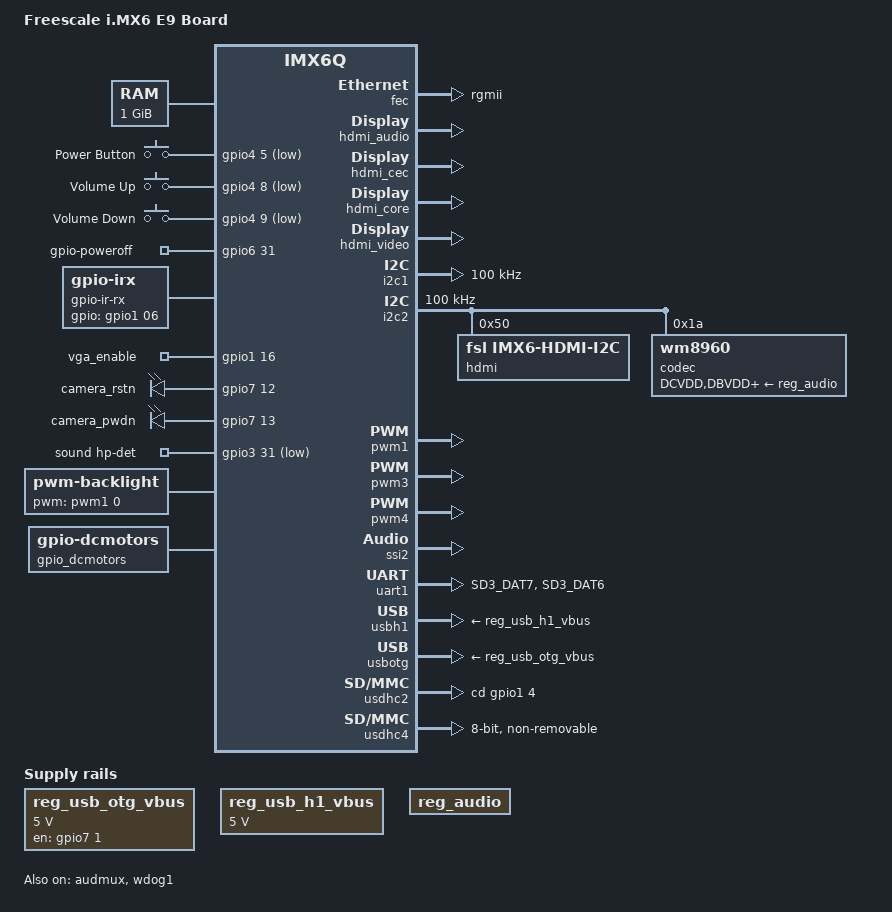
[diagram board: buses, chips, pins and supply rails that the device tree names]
/*
 * Copyright 2012 Freescale Semiconductor, Inc.
 * Copyright 2011 Linaro Ltd.
 *
 * The code contained herein is licensed under the GNU General Public
 * License. You may obtain a copy of the GNU General Public License
 * Version 2 or later at the following locations:
 *
 * http://www.opensource.org/licenses/gpl-license.html
 * http://www.gnu.org/copyleft/gpl.html
 */

/dts-v1/;

#include "imx6q.dtsi"

/ {
/*	model = "i.MX6 Quad E9 Board";*/
	model = "Freescale i.MX6 E9 Board";
	compatible = "fsl,imx6q-e9","imx6q-sabresd", "fsl,imx6q";

	aliases {
		mxcfb0 = &mxcfb3;
		mxcfb1 = &mxcfb2;
		mxcfb2 = &mxcfb1;
		mxcfb3 = &mxcfb4;
	};

	memory {
		reg = <0x10000000 0x40000000>;
	};

	regulators {
		compatible = "simple-bus";

		reg_usb_otg_vbus: usb_otg_vbus {
			compatible = "regulator-fixed";
			regulator-name = "usb_otg_vbus";
			regulator-min-microvolt = <5000000>;
			regulator-max-microvolt = <5000000>;
			gpio = <&gpio7 1 0>;
			enable-active-high;
		};

		reg_usb_h1_vbus: usb_h1_vbus {
			compatible = "regulator-fixed";
			regulator-name = "usb_h1_vbus";
			regulator-min-microvolt = <5000000>;
			regulator-max-microvolt = <5000000>;
			/*gpio = <&gpio1 29 0>;*/
			enable-active-high;
		};

		reg_audio: wm8960_supply {
			compatible = "regulator-fixed";
			regulator-name = "wm8960-supply";
			/*gpio = <&gpio4 10 0>;*/
			enable-active-high;
		};
		
		sw1a_reg: sw1ab {
			regulator-min-microvolt = <300000>;
			regulator-max-microvolt = <1875000>;
			regulator-boot-on;
			regulator-always-on;
			regulator-ramp-delay = <6250>;
		};

		sw1c_reg: sw1c {
			regulator-min-microvolt = <300000>;
			regulator-max-microvolt = <1875000>;
			regulator-boot-on;
			regulator-always-on;
			regulator-ramp-delay = <6250>;
		};	

		sw2_reg: sw2 {
			regulator-min-microvolt = <800000>;
			regulator-max-microvolt = <3300000>;
			regulator-boot-on;
			regulator-always-on;
		};

		sw3a_reg: sw3a {
			regulator-min-microvolt = <400000>;
			regulator-max-microvolt = <1975000>;
			regulator-boot-on;
			regulator-always-on;
		};

		sw3b_reg: sw3b {
			regulator-min-microvolt = <400000>;
			regulator-max-microvolt = <1975000>;
			regulator-boot-on;
			regulator-always-on;
		};

		sw4_reg: sw4 {
			regulator-min-microvolt = <800000>;
			regulator-max-microvolt = <3300000>;
		};

		swbst_reg: swbst {
			regulator-min-microvolt = <5000000>;
			regulator-max-microvolt = <5150000>;
		};

		snvs_reg: vsnvs {
			regulator-min-microvolt = <1000000>;
			regulator-max-microvolt = <3000000>;
			regulator-boot-on;
			regulator-always-on;
		};

		vref_reg: vrefddr {
			regulator-boot-on;
			regulator-always-on;
		};

		vgen1_reg: vgen1 {
			regulator-min-microvolt = <800000>;
			regulator-max-microvolt = <1550000>;
		};

		vgen2_reg: vgen2 {
			regulator-min-microvolt = <800000>;
			regulator-max-microvolt = <1550000>;
		};

		vgen3_reg: vgen3 {
			regulator-min-microvolt = <1800000>;
			regulator-max-microvolt = <3300000>;
		};

		vgen4_reg: vgen4 {
			regulator-min-microvolt = <1800000>;
			regulator-max-microvolt = <3300000>;
			regulator-always-on;
		};

		vgen5_reg: vgen5 {
			regulator-min-microvolt = <1800000>;
			regulator-max-microvolt = <3300000>;
			regulator-always-on;
		};

		vgen6_reg: vgen6 {
			regulator-min-microvolt = <1800000>;
			regulator-max-microvolt = <3300000>;
			regulator-always-on;
		};
		

	};

	gpio_keys {
		compatible = "gpio-keys";
		pinctrl-names = "default";
		pinctrl-0 = <&pinctrl_gpio_keys>;
		#address-cells = <1>;
		#size-cells = <0>;
		autorepeat;
		power {
			label = "Power Button";
			gpios = <&gpio4 5 1>;
			debounce-interval= <50>;
			linux,input-type = <0>;
			linux,code = <116>; /* KEY_POWER */
			gpio-key,wakeup;
		};

		volume-up {
			label = "Volume Up";
			gpios = <&gpio4 8 1>;
			debounce-interval= <50>;
			linux,input-type = <0>;
			linux,code = <115>; /* KEY_VOLUMEUP K3 */
		};

		volume-down {
			label = "Volume Down";
			gpios = <&gpio4 9 1>;
			debounce-interval= <50>;
			linux,input-type = <0>;
			linux,code = <114>; /* KEY_VOLUMEDOWN K4*/
		};
	};

	gpio-poweroff {		
		compatible = "gpio-poweroff";
		pinctrl-names = "default";
        pinctrl-0 = <&pinctrl_gpio_powerhold>;
		gpios = <&gpio6 31  GPIO_ACTIVE_HIGH>;	
	};

	gpio-ir-rx {		
		compatible = "gpio-irx";
        pulse_width = <600>;
        linux,input-type = <0>;
		pinctrl-names = "default";
        pinctrl-0 = <&pinctrl_gpio_irx>;
		gpios = <&gpio1 06  GPIO_ACTIVE_HIGH>;	
	};
	
	
	run-control {
		compatible = "gpio-leds";
		pinctrl-names = "default";
		pinctrl-0 = <&runctrl_pins>;
		
		vga:pasave{
			label ="vga_enable";
			gpios = <&gpio1 16 GPIO_ACTIVE_HIGH>;
			default-state = "on";
		};
		
		camera_rstn{
			label ="camera_rstn";
			gpios =<&gpio7 12  GPIO_ACTIVE_HIGH>;
			default-state = "on";
		};
		
		camera_pwnd{
			label ="camera_pwdn";
			gpios =<&gpio7 13  GPIO_ACTIVE_HIGH>;
			default-state = "on";
		};
	};

	sound {
		compatible = "fsl,imx-audio-wm8960";
		model = "wm8960-audio";
		ssi-controller = <&ssi2>;
		audio-codec = <&codec>;
		audio-routing =
			"Headphone Jack", "HP_L",
			"Headphone Jack", "HP_R",
			"Ext Spk", "SPK_LP",
			"Ext Spk", "SPK_LN",
            "MICB", "LINPUT1",
            "AMIC", "MICB";
		mux-int-port = <2>;
		mux-ext-port = <3>;
		hp-det-gpios = <&gpio3 31 1>;
		/*mic-det-gpios = <&gpio1 9 1>;*/
	};

	sound-hdmi {
		compatible = "fsl,imx6q-audio-hdmi",
			     "fsl,imx-audio-hdmi";
		model = "imx-audio-hdmi";
		hdmi-controller = <&hdmi_audio>;
	};

	mxcfb1: fb@0 {
		compatible = "fsl,mxc_sdc_fb";
		disp_dev = "ldb";
		interface_pix_fmt = "RGB666";
		mode_str ="LDB-XGA";
		default_bpp = <16>;
		int_clk = <0>;
		late_init = <0>;
		status = "disabled";
	};

	mxcfb2: fb@1 {
		compatible = "fsl,mxc_sdc_fb";
		disp_dev = "hdmi";
		interface_pix_fmt = "RGB24";
		mode_str ="1920x1080M@60";
		default_bpp = <24>;
		int_clk = <0>;
		late_init = <0>;
		status = "okay";
	};

	mxcfb3: fb@2 {
		compatible = "fsl,mxc_sdc_fb";
		disp_dev = "lcd";
		interface_pix_fmt = "RGB565";
		mode_str ="SEIKO-WVGA";
		default_bpp = <16>;
		int_clk = <0>;
		late_init = <0>;
		status = "okay";
	};

	mxcfb4: fb@3 {
		compatible = "fsl,mxc_sdc_fb";
		disp_dev = "ldb";
		interface_pix_fmt = "RGB666";
		mode_str ="LDB-XGA";
		default_bpp = <16>;
		int_clk = <0>;
		late_init = <0>;
		status = "disable";
	};

	lcd@0 {
		compatible = "fsl,lcd";
		ipu_id = <0>;
		disp_id = <0>;
		default_ifmt = "RGB565";
		pinctrl-names = "default";
		pinctrl-0 = <&pinctrl_ipu1_1>;
		status = "okay";
	};

	backlight {
		compatible = "pwm-backlight";
		pwms = <&pwm1 0 5000000>;
		brightness-levels = <0 4 8 16 32 64 128 255>;
		default-brightness-level = <7>;
	};

	v4l2_cap_0 {
		compatible = "fsl,imx6q-v4l2-capture";
		ipu_id = <0>;
		csi_id = <0>;
		mclk_source = <0>;
		status = "okay";
	};

	v4l2_cap_1 {
		compatible = "fsl,imx6q-v4l2-capture";
		ipu_id = <0>;
		csi_id = <1>;
		mclk_source = <0>;
		status = "disabled";
	};

	v4l2_out {
		compatible = "fsl,mxc_v4l2_output";
		status = "okay";
	};

    gpio_dcmotors {
        compatible = "gpio-dcmotors";
        //pinctrl-names = "default";
        //pinctrl-0 = <&pinctrl_gpio_dcmotors>;
        #address-cells = <1>;
        #size-cells = <0>;
        autorepeat;

        motor1: motor@lb {
            label = "motorlb";
            pwms = <&pwm3 0 500000>;//10e9/5000000
            pwm-names = "motorlb-pwm";
            gpios = <&gpio7 4 GPIO_ACTIVE_LOW//motor dr default low                   
                    &gpio5 2 0//captrue A forward
                    &gpio7 7 0>;//capture B back
            pwm-duty= <90>;//%
            linux,input-type = <0>;
            linux,code = <117>; /* motorlb speed */         /*gpio-key,wakeup;*/        
        };
        motor2: motor@rb {
            label = "motorrb";
            pwms = <&pwm4 0 50000>;
            pwm-names = "motorrb-pwm";
            gpios = <&gpio7 5 GPIO_ACTIVE_LOW   //motor dr default low
                    &gpio7 3 0  //captrue A forward
                    &gpio7 2 0>;    //capture B back
            pwm-duty= <90>;//%
            linux,input-type = <0>;
            linux,code = <118>; /* motorrb speed */
        };  
    };

};

&audmux {
	pinctrl-names = "default";
	pinctrl-0 = <&pinctrl_audmux_2>;
	status = "okay";
};

&cpu0 {
	arm-supply = <&sw1a_reg>;
	soc-supply = <&sw1c_reg>;
	pu-supply = <&pu_dummy>; /* use pu_dummy if VDDSOC share with VDDPU */
};

&fec {
	pinctrl-names = "default";
	pinctrl-0 = <&pinctrl_enet_1>;
	phy-mode = "rgmii";
	status = "okay";
};

&gpc {
	fsl,cpu_pupscr_sw2iso = <0xf>;
	fsl,cpu_pupscr_sw = <0xf>;
	fsl,cpu_pdnscr_iso2sw = <0x1>;
	fsl,cpu_pdnscr_iso = <0x1>;
	fsl,ldo-bypass = <1>; /* use ldo-bypass, u-boot will check it and configure */
	fsl,wdog-reset = <1>; /* watchdog select of reset source */
	pu-supply = <&pu_dummy>; /* ldo-bypass:use pu_dummy if VDDSOC share with VDDPU */
};

&wdog1 {
    status = "okay";
};

&gpu {
	pu-supply = <&pu_dummy>; /* ldo-bypass:use pu_dummy if VDDSOC share with VDDPU */
};

&hdmi_audio {
	status = "okay";
};

&hdmi_cec {
	pinctrl-names = "default";
	pinctrl-0 = <&pinctrl_hdmi_cec_2>;
	status = "okay";
};

&hdmi_core {
	ipu_id = <0>;
	disp_id = <0>;
	status = "okay";
};

&hdmi_video {
	fsl,phy_reg_vlev = <0x0294>;
	fsl,phy_reg_cksymtx = <0x800d>;
	status = "okay";
};

&i2c1 {
	clock-frequency = <100000>;
	pinctrl-names = "default";
	pinctrl-0 = <&pinctrl_i2c1_2>;
	status = "okay";
/*
	tsc2007: tsc2007@48 {
		compatible = "ti,tsc2007";
		reg = <0x48>;
		interrupt-parent = <&gpio1>;
		interrupts = <0x0 0x4>;
		gpios = <&gpio1 29 0>;
		ti,x-plate-ohms = <180>;
		ti,poll-period = <10>;
		status = "disabled";
	};

*/	
};

&i2c2 {
	clock-frequency = <100000>;
	pinctrl-names = "default";
	pinctrl-0 = <&pinctrl_i2c2_2>;
	status = "okay";

	hdmi: edid@50 {
		compatible = "fsl,imx6-hdmi-i2c";
		reg = <0x50>;
	};
	
	codec: wm8960@1a {
		compatible = "wm8960","wlf,wm8960";
		reg = <0x1a>;
		clocks = <&clks 201>;
		DCVDD-supply = <&reg_audio>;
		DBVDD-supply = <&reg_audio>;
		AVDD-supply = <&reg_audio>;
		CPVDD-supply = <&reg_audio>;
		MICVDD-supply = <&reg_audio>;
		PLLVDD-supply = <&reg_audio>;
		SPKVDD1-supply = <&reg_audio>;
		SPKVDD2-supply = <&reg_audio>;
 /*       capless;*/
        shared_lrclk;
       };
/*    adxl345@53 {
        compatible = "adi,adxl34x","adxl34x";
        reg = <0x53>;
		gpios = <&gpio1 28 0>;
    };

    hmc5883l@1b {
        compatible = "hmc5883l";
        reg = <0x1b>;
//		gpios = <&gpio1 28 1>;
    };
    
    hmc5883l@1e {
        compatible = "hmc5883l";
        reg = <0x1e>;
    };
    
    L3G4200D@69 {
        compatible = "l3g4200d_gyr";
        reg = <0x69>;
    };
*/
};


&iomuxc {
	pinctrl-names = "default";
	pinctrl-0 = <&pinctrl_hog_1>;

	hog {
		pinctrl_hog_1: hoggrp-1 {
			fsl,pins = <
				MX6QDL_PAD_GPIO_0__CCM_CLKO1    	0x130b0 /*WM8960 MCLK*/
//				MX6QDL_PAD_GPIO_6__GPIO1_IO06		0x170b0	/*IR recieve*/
//				MX6QDL_PAD_ENET_TXD1__GPIO1_IO29	0x07048 /*pen IRQ*/
//				MX6QDL_PAD_ENET_TX_EN__GPIO1_IO28	0x00040 /*ext gpio IRQ*/
                MX6QDL_PAD_SD1_DAT1__PWM3_OUT 0x1b0b1 /*0x1b0b1 pwm for motorrl ctrl */         
                MX6QDL_PAD_SD1_CMD__PWM4_OUT 0x1b0b1 /*0x1b0b1 pwm for motorrr ctrl */
            /* motorrl ctrl pin */            
                MX6QDL_PAD_SD3_DAT0__GPIO7_IO04     0x130b0 /* Direction Out PD*/
                MX6QDL_PAD_EIM_A25__GPIO5_IO02      0x10048 /* Capture A */
                MX6QDL_PAD_SD3_DAT3__GPIO7_IO07     0x10048 /* Capture B */
             /* motorrb  */
                MX6QDL_PAD_SD3_DAT1__GPIO7_IO05     0x130b0 /* Direction Out PD*/
                MX6QDL_PAD_SD3_CLK__GPIO7_IO03      0x1b048 /* Capture A */
                MX6QDL_PAD_SD3_CMD__GPIO7_IO02      0x1b048 /* Capture B */         
			>;
		};
	
		pinctrl_gpio_keys: gpio-keysgrp{		
			fsl,pins = <							
				MX6QDL_PAD_GPIO_19__GPIO4_IO05		0x17048 /* Power Button */
				MX6QDL_PAD_KEY_COL1__GPIO4_IO08		0x17048 /* Volume Up */
				MX6QDL_PAD_KEY_ROW1__GPIO4_IO09		0x17048 /* Volume Down */
			>;	
		};

		pinctrl_gpio_powerhold: gpio-powerholdgrp{					
			fsl,pins = <
				MX6QDL_PAD_EIM_BCLK__GPIO6_IO31    	0x17048 /* Power Off:0*/
			>;
		};
		
        pinctrl_gpio_irx: gpio-irxgrp{					
			fsl,pins = <
				MX6QDL_PAD_GPIO_6__GPIO1_IO06		0x170b0	/*IR recieve*/
			>;
		};

		runctrl_pins: runctrlgrp{					
			fsl,pins = <
				MX6QDL_PAD_SD1_DAT0__GPIO1_IO16		0x1b0b1 /*VGA PASAVE OD, PULL  disabled,slow*/
				MX6QDL_PAD_GPIO_17__GPIO7_IO12		0x1b0b1 /*CAMERA RST */
				MX6QDL_PAD_GPIO_18__GPIO7_IO13		0x1b0b1 /*CAMERA PWDN */
			>;
        };

        pinctrl_pwm3_2: pwm3grp-2 {         
            fsl,pins = <                
                MX6QDL_PAD_SD1_DAT1__PWM3_OUT 0x120b1 /*0x1b0b1*/           
            >;      
        };      
        
        pinctrl_pwm4_1: pwm4grp-1 {            
            fsl,pins = <                
                MX6QDL_PAD_SD1_CMD__PWM4_OUT 0x120b1 /*0x1b0b1*/            
            >;      
        };

        pinctrl_gpio_dcmotors:dcmotorsgrp-1{
            fsl,pins = </* motorlb  */
                MX6QDL_PAD_SD3_DAT0__GPIO7_IO04     0x120b1 /* Direction Out*/
                MX6QDL_PAD_EIM_A25__GPIO5_IO02      0x17048 /* Capture A */
                MX6QDL_PAD_SD3_DAT3__GPIO7_IO07     0x17048 /* Capture B */
             /* motorrb  */
                MX6QDL_PAD_SD3_DAT1__GPIO7_IO05     0x120b1 /* Direction Out*/
                MX6QDL_PAD_SD3_CLK__GPIO7_IO03      0x17048 /* Capture A */
                MX6QDL_PAD_SD3_CMD__GPIO7_IO02      0x17048 /* Capture B */         
            >;              
        };
	};
};

&ldb {
	ipu_id = <1>;
	disp_id = <1>;
	ext_ref = <1>;
	mode = "sep1";
	sec_ipu_id = <1>;
	sec_disp_id = <0>;
	status = "disabled";
};

&mipi_csi {
	status = "disabled";
	ipu_id = <0>;
	csi_id = <1>;
	v_channel = <0>;
	lanes = <2>;
};

&pwm1 {
	pinctrl-names = "default";
	pinctrl-0 = <&pinctrl_pwm1_1>;
	status = "okay";
};

&pwm3 {
    //pinctrl-names = "default"; for sync gpio init; 
    //pinctrl-0 = <&pinctrl_pwm3_2>;
    status = "okay";
};

&pwm4 {
    //pinctrl-names = "default";
    //pinctrl-0 = <&pinctrl_pwm4_1>;
    status = "okay";
};

&ssi2 {
	fsl,mode = "i2s-slave";
	status = "okay";
};

&uart1 {
	pinctrl-names = "default";
	pinctrl-0 = <&pinctrl_uart1_2>;
	status = "okay";
	pinctrl_uart1_2: uart1grp-2 {		
           fsl,pins = <			
		MX6QDL_PAD_SD3_DAT7__UART1_TX_DATA 0x1b0b1			
		MX6QDL_PAD_SD3_DAT6__UART1_RX_DATA 0x1b0b1		
		>;	
	};
};

&usbh1 {
	vbus-supply = <&reg_usb_h1_vbus>;
	status = "okay";
};

&usbotg {
	vbus-supply = <&reg_usb_otg_vbus>;
	pinctrl-names = "default";
	pinctrl-0 = <&pinctrl_usbotg_2>;
	disable-over-current;
	status = "okay";
};

&usdhc2 {
	pinctrl-names = "default";
	pinctrl-0 = <&pinctrl_usdhc2_2>;
	cd-gpios = <&gpio1 4 0>;
	/*wp-gpios = <&gpio2 3 0>;*/
	no-1-8-v;
	keep-power-in-suspend;
	enable-sdio-wakeup;
	status = "okay";
};

&usdhc3 {
	pinctrl-names = "default";
	pinctrl-0 = <&pinctrl_usdhc3_1>;
	cd-gpios = <&gpio2 0 0>;
	wp-gpios = <&gpio2 1 0>;
	no-1-8-v;
	keep-power-in-suspend;
	enable-sdio-wakeup;
	status = "disabled";
};

&usdhc4 {
        pinctrl-names = "default";
        pinctrl-0 = <&pinctrl_usdhc4_1>;
        bus-width = <8>;
        non-removable;
        no-1-8-v;
	keep-power-in-suspend;
        status = "okay";
};

&vpu {
	pu-supply = <&pu_dummy>; /* ldo-bypass:use pu_dummy if VDDSOC share with VDDPU */
};
